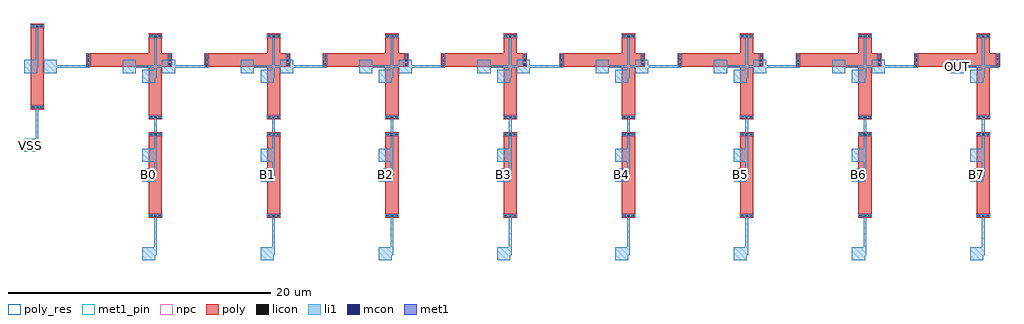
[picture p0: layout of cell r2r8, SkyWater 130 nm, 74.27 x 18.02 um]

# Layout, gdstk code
import gdstk
lib = gdstk.Library(unit=1e-6, precision=1e-09)
def R(c, l, rs):  # rectangles x0, y0, x1, y1
    for r in rs: c.add(gdstk.rectangle(r[:2], r[2:], *l))
def A(c, l, x, y, w, h, nx, ny, dx, dy):  # array of equal rectangles
    R(c, l, [(x+i*dx, y+j*dy, x+i*dx+w, y+j*dy+h) for i in range(nx) for j in range(ny)])
poly_res = (66, 13)
poly = (66, 20)
licon = (66, 44)
li1 = (67, 20)
mcon = (67, 44)
met1_pin = (68, 16)
met1 = (68, 20)
npc = (95, 20)

r2r8 = lib.new_cell('r2r8')
A(r2r8, poly_res, 13, 8.75, 1, 6, 8, 2, 9, 7.5)
A(r2r8, poly_res, 8.5, 20, 6, 1, 8, 1, 9, 0)
R(r2r8, poly_res, [(4,17,5,23)])
A(r2r8, poly, 13, 8.5, 1, 6.5, 8, 2, 9, 7.5)
A(r2r8, poly, 8.25, 20, 6.5, 1, 8, 1, 9, 0)
R(r2r8, poly, [(4,16.75,5,23.25)])
A(r2r8, licon, 13.075, 8.58, 0.17, 0.17, 3, 2, 0.34, 6.17)
A(r2r8, licon, 22.075, 8.58, 0.17, 0.17, 3, 2, 0.34, 6.17)
A(r2r8, licon, 31.075, 8.58, 0.17, 0.17, 3, 2, 0.34, 6.17)
A(r2r8, licon, 40.075, 8.58, 0.17, 0.17, 3, 2, 0.34, 6.17)
A(r2r8, licon, 49.075, 8.58, 0.17, 0.17, 3, 2, 0.34, 6.17)
A(r2r8, licon, 58.075, 8.58, 0.17, 0.17, 3, 2, 0.34, 6.17)
A(r2r8, licon, 67.075, 8.58, 0.17, 0.17, 3, 2, 0.34, 6.17)
A(r2r8, licon, 76.075, 8.58, 0.17, 0.17, 3, 2, 0.34, 6.17)
A(r2r8, licon, 13.075, 16.08, 0.17, 0.17, 3, 2, 0.34, 6.17)
A(r2r8, licon, 22.075, 16.08, 0.17, 0.17, 3, 2, 0.34, 6.17)
A(r2r8, licon, 31.075, 16.08, 0.17, 0.17, 3, 2, 0.34, 6.17)
A(r2r8, licon, 40.075, 16.08, 0.17, 0.17, 3, 2, 0.34, 6.17)
A(r2r8, licon, 49.075, 16.08, 0.17, 0.17, 3, 2, 0.34, 6.17)
A(r2r8, licon, 58.075, 16.08, 0.17, 0.17, 3, 2, 0.34, 6.17)
A(r2r8, licon, 67.075, 16.08, 0.17, 0.17, 3, 2, 0.34, 6.17)
A(r2r8, licon, 76.075, 16.08, 0.17, 0.17, 3, 2, 0.34, 6.17)
A(r2r8, licon, 4.075, 16.83, 0.17, 0.17, 3, 2, 0.34, 6.17)
A(r2r8, licon, 8.33, 20.075, 0.17, 0.17, 1, 3, 0, 0.34)
A(r2r8, licon, 14.5, 20.075, 0.17, 0.17, 1, 3, 0, 0.34)
A(r2r8, licon, 17.33, 20.075, 0.17, 0.17, 1, 3, 0, 0.34)
A(r2r8, licon, 23.5, 20.075, 0.17, 0.17, 1, 3, 0, 0.34)
A(r2r8, licon, 26.33, 20.075, 0.17, 0.17, 1, 3, 0, 0.34)
A(r2r8, licon, 32.5, 20.075, 0.17, 0.17, 1, 3, 0, 0.34)
A(r2r8, licon, 35.33, 20.075, 0.17, 0.17, 1, 3, 0, 0.34)
A(r2r8, licon, 41.5, 20.075, 0.17, 0.17, 1, 3, 0, 0.34)
A(r2r8, licon, 44.33, 20.075, 0.17, 0.17, 1, 3, 0, 0.34)
A(r2r8, licon, 50.5, 20.075, 0.17, 0.17, 1, 3, 0, 0.34)
A(r2r8, licon, 53.33, 20.075, 0.17, 0.17, 1, 3, 0, 0.34)
A(r2r8, licon, 59.5, 20.075, 0.17, 0.17, 1, 3, 0, 0.34)
A(r2r8, licon, 62.33, 20.075, 0.17, 0.17, 1, 3, 0, 0.34)
A(r2r8, licon, 68.5, 20.075, 0.17, 0.17, 1, 3, 0, 0.34)
A(r2r8, licon, 71.33, 20.075, 0.17, 0.17, 1, 3, 0, 0.34)
A(r2r8, licon, 77.5, 20.075, 0.17, 0.17, 1, 3, 0, 0.34)
A(r2r8, li1, 12.5, 5.25, 1, 1, 8, 2, 9, 6)
A(r2r8, li1, 13, 5.65, 0.6, 0.2, 8, 2, 9, 6)
A(r2r8, li1, 13.4, 5.65, 0.2, 3.015, 8, 2, 9, 7.5)
A(r2r8, li1, 12.995, 8.58, 1.01, 0.17, 8, 2, 9, 6.17)
A(r2r8, li1, 12.915, 11.585, 0.17, 0.33, 8, 1, 9, 0)
A(r2r8, li1, 13.4, 11.65, 0.2, 3.185, 8, 2, 9, 7.5)
A(r2r8, li1, 12.5, 12.75, 1, 1, 8, 2, 9, 6)
A(r2r8, li1, 13, 13.15, 0.6, 0.2, 8, 2, 9, 6)
A(r2r8, li1, 12.995, 16.08, 1.01, 0.17, 8, 2, 9, 6.17)
A(r2r8, li1, 5.5, 19.9, 3.015, 0.2, 8, 1, 9, 0)
A(r2r8, li1, 11.5, 19.9, 3.185, 0.2, 8, 1, 9, 0)
R(r2r8, li1, [(3.5,13.5,4.5,14.5), (3.915,13.835,4.085,14.165), (4,13.9,4.6,14.1), (4.4,13.9,4.6,16.915), (3.995,16.83,5.005,17), (3.5,19.5,4.5,20.5), (5,19.5,6,20.5), (11,19.5,12,20.5), (14,19.5,15,20.5), (20,19.5,21,20.5), (23,19.5,24,20.5), (29,19.5,30,20.5), (32,19.5,33,20.5), (38,19.5,39,20.5), (41,19.5,42,20.5), (47,19.5,48,20.5), (50,19.5,51,20.5), (56,19.5,57,20.5), (59,19.5,60,20.5), (65,19.5,66,20.5), (68,19.5,69,20.5), (74,19.5,75,20.5), (74.415,19.835,74.585,20.165), (4,19.9,4.6,20.1), (4.4,19.9,4.6,23.085), (8.315,19.9,8.515,20.5), (14.485,19.9,14.685,20.5), (17.315,19.9,17.515,20.5), (23.485,19.9,23.685,20.5), (26.315,19.9,26.515,20.5), (32.485,19.9,32.685,20.5), (35.315,19.9,35.515,20.5), (41.485,19.9,41.685,20.5), (44.315,19.9,44.515,20.5), (50.485,19.9,50.685,20.5), (53.315,19.9,53.515,20.5), (59.485,19.9,59.685,20.5), (62.315,19.9,62.515,20.5), (68.485,19.9,68.685,20.5), (71.315,19.9,71.515,20.5), (77.485,19.9,77.685,20.5), (8.33,19.995,8.5,21.005), (14.5,19.995,14.67,21.005), (17.33,19.995,17.5,21.005), (23.5,19.995,23.67,21.005), (26.33,19.995,26.5,21.005), (32.5,19.995,32.67,21.005), (35.33,19.995,35.5,21.005), (41.5,19.995,41.67,21.005), (44.33,19.995,44.5,21.005), (50.5,19.995,50.67,21.005), (53.33,19.995,53.5,21.005), (59.5,19.995,59.67,21.005), (62.33,19.995,62.5,21.005), (68.5,19.995,68.67,21.005), (71.33,19.995,71.5,21.005), (77.5,19.995,77.67,21.005), (3.995,23,5.005,23.17)])
A(r2r8, mcon, 12.915, 11.665, 0.17, 0.17, 8, 1, 9, 0)
R(r2r8, mcon, [(3.915,13.915,4.085,14.085), (74.415,19.915,74.585,20.085)])
A(r2r8, met1_pin, 12.815, 11.635, 0.37, 0.23, 8, 1, 9, 0)
R(r2r8, met1_pin, [(3.815,13.885,4.185,14.115), (74.315,19.885,74.685,20.115)])
R(r2r8, met1, [(12.815,11.635,13.185,11.865), (12.815,11.635,13.185,11.865), (21.815,11.635,22.185,11.865), (21.815,11.635,22.185,11.865), (30.815,11.635,31.185,11.865), (30.815,11.635,31.185,11.865), (39.815,11.635,40.185,11.865), (39.815,11.635,40.185,11.865), (48.815,11.635,49.185,11.865), (48.815,11.635,49.185,11.865), (57.815,11.635,58.185,11.865), (57.815,11.635,58.185,11.865), (66.815,11.635,67.185,11.865), (66.815,11.635,67.185,11.865), (75.815,11.635,76.185,11.865), (75.815,11.635,76.185,11.865), (3.815,13.885,4.185,14.115), (3.815,13.885,4.185,14.115), (74.315,19.885,74.685,20.115), (74.315,19.885,74.685,20.115)])
A(r2r8, npc, 12.975, 8.48, 1.05, 0.37, 8, 2, 9, 6.17)
A(r2r8, npc, 12.975, 15.98, 1.05, 0.37, 8, 2, 9, 6.17)
R(r2r8, npc, [(3.975,16.73,5.025,17.1), (8.23,19.975,8.6,21.025), (14.4,19.975,14.77,21.025), (17.23,19.975,17.6,21.025), (23.4,19.975,23.77,21.025), (26.23,19.975,26.6,21.025), (32.4,19.975,32.77,21.025), (35.23,19.975,35.6,21.025), (41.4,19.975,41.77,21.025), (44.23,19.975,44.6,21.025), (50.4,19.975,50.77,21.025), (53.23,19.975,53.6,21.025), (59.4,19.975,59.77,21.025), (62.23,19.975,62.6,21.025), (68.4,19.975,68.77,21.025), (71.23,19.975,71.6,21.025), (77.4,19.975,77.77,21.025), (3.975,22.9,5.025,23.27)])
r2r8.add(gdstk.Label('B0', (13,11.75), layer=68, texttype=16))
r2r8.add(gdstk.Label('B1', (22,11.75), layer=68, texttype=16))
r2r8.add(gdstk.Label('B2', (31,11.75), layer=68, texttype=16))
r2r8.add(gdstk.Label('B3', (40,11.75), layer=68, texttype=16))
r2r8.add(gdstk.Label('B4', (49,11.75), layer=68, texttype=16))
r2r8.add(gdstk.Label('B5', (58,11.75), layer=68, texttype=16))
r2r8.add(gdstk.Label('B6', (67,11.75), layer=68, texttype=16))
r2r8.add(gdstk.Label('B7', (76,11.75), layer=68, texttype=16))
r2r8.add(gdstk.Label('OUT', (74.5,20), layer=68, texttype=16))
r2r8.add(gdstk.Label('VSS', (4,14), layer=68, texttype=16))
r2r8.add(gdstk.Label('B0', (13,11.75), layer=68, texttype=5))
r2r8.add(gdstk.Label('B1', (22,11.75), layer=68, texttype=5))
r2r8.add(gdstk.Label('B2', (31,11.75), layer=68, texttype=5))
r2r8.add(gdstk.Label('B3', (40,11.75), layer=68, texttype=5))
r2r8.add(gdstk.Label('B4', (49,11.75), layer=68, texttype=5))
r2r8.add(gdstk.Label('B5', (58,11.75), layer=68, texttype=5))
r2r8.add(gdstk.Label('B6', (67,11.75), layer=68, texttype=5))
r2r8.add(gdstk.Label('B7', (76,11.75), layer=68, texttype=5))
r2r8.add(gdstk.Label('OUT', (74.5,20), layer=68, texttype=5))
r2r8.add(gdstk.Label('VSS', (4,14), layer=68, texttype=5))

lib.write_gds('r2r8.gds')
